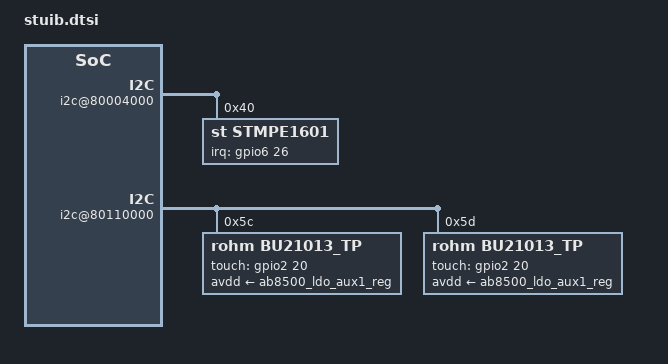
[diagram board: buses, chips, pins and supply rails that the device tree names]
/*
 * Copyright 2012 ST-Ericsson AB
 *
 * The code contained herein is licensed under the GNU General Public
 * License. You may obtain a copy of the GNU General Public License
 * Version 2 or later at the following locations:
 *
 * http://www.opensource.org/licenses/gpl-license.html
 * http://www.gnu.org/copyleft/gpl.html
 */

#include <dt-bindings/interrupt-controller/irq.h>

/ {
	soc {
		i2c@80004000 {
			stmpe1601: stmpe1601@40 {
				compatible = "st,stmpe1601";
				reg = <0x40>;
				interrupts = <26 IRQ_TYPE_EDGE_FALLING>;
				interrupt-parent = <&gpio6>;
				interrupt-controller;

				wakeup-source;
				st,autosleep-timeout = <1024>;

				stmpe_keypad {
					compatible = "st,stmpe-keypad";

					debounce-interval = <64>;
					st,scan-count = <8>;
					st,no-autorepeat;

					linux,keymap = <0x205006b
							0x4010074
							0x3050072
							0x1030004
							0x502006a
							0x500000a
							0x5008b
							0x706001c
							0x405000b
							0x6070003
							0x3040067
							0x303006c
							0x60400e7
							0x602009e
							0x4020073
							0x5050002
							0x4030069
							0x3020008>;
				};
			};
		};

		i2c@80110000 {
			bu21013_tp@0x5c {
				compatible = "rohm,bu21013_tp";
				reg = <0x5c>;
				touch-gpio = <&gpio2 20 0x4>;
				avdd-supply = <&ab8500_ldo_aux1_reg>;

				rohm,touch-max-x = <384>;
				rohm,touch-max-y = <704>;
				rohm,flip-y;
			};

			bu21013_tp@0x5d {
				compatible = "rohm,bu21013_tp";
				reg = <0x5d>;
				touch-gpio = <&gpio2 20 0x4>;
				avdd-supply = <&ab8500_ldo_aux1_reg>;

				rohm,touch-max-x = <384>;
				rohm,touch-max-y = <704>;
				rohm,flip-y;
			};
		};
	};
};
